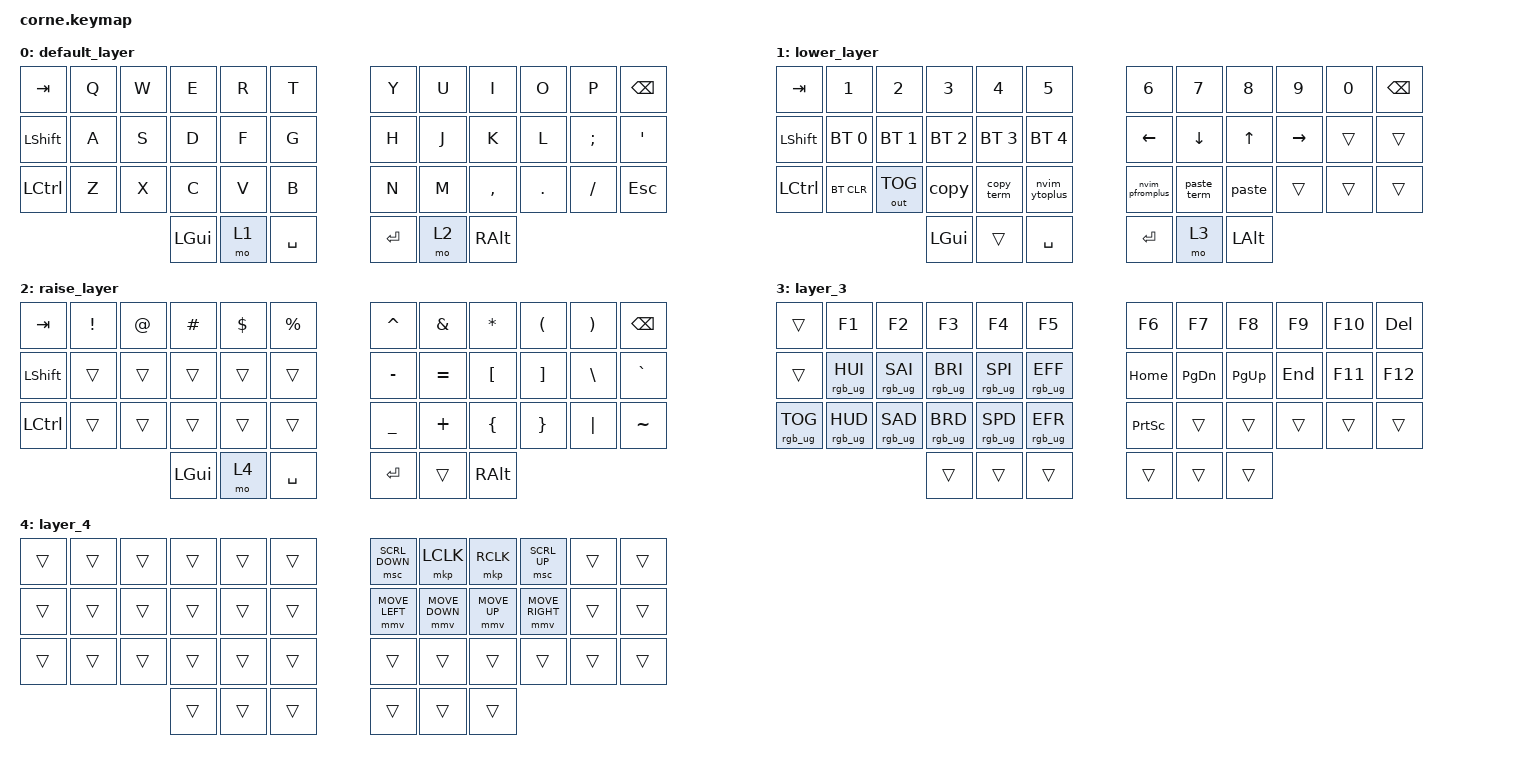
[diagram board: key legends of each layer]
/*
 * Copyright (c) 2020 The ZMK Contributors
 *
 * SPDX-License-Identifier: MIT
 */

#include <behaviors.dtsi>
#include <dt-bindings/zmk/bt.h>
#include <dt-bindings/zmk/keys.h>
#include <dt-bindings/zmk/outputs.h>
#include <dt-bindings/zmk/pointing.h>
#include <dt-bindings/zmk/rgb.h>
#include <dt-bindings/led/led.h>

/ {
    macros {
        copy: ctrlc_ctrlv {
            compatible = "zmk,behavior-macro";
            #binding-cells = <0>;
            bindings = <&kp LCTRL &kp C>;
            label = "CTRLC_CTRLV";
        };
        paste: paste {
            compatible = "zmk,behavior-macro";
            #binding-cells = <0>;
            bindings = <&kp LCTRL &kp V>;
            label = "PASTE";
        };
        copy_term: copy_term {
            compatible = "zmk,behavior-macro";
            #binding-cells = <0>;
            bindings = <&kp LCTRL &kp LEFT_SHIFT &kp C>;
            label = "COPY_TERM";
        };
        paste_term: paste_term {
            compatible = "zmk,behavior-macro";
            #binding-cells = <0>;
            bindings = <&kp LCTRL &kp LEFT_SHIFT &kp V>;
            label = "PASTE_TERM";
        };
        nvim_ytoplus: nvim_ytoplus {
            compatible = "zmk,behavior-macro";
            #binding-cells = <0>;
            bindings = <&kp DQT &kp PLUS &kp Y>;
            label = "NVIM_YTOPLUS";
        };
        nvim_pfromplus: nvim_pfromplus {
            compatible = "zmk,behavior-macro";
            #binding-cells = <0>;
            bindings = <&kp I &kp LCTRL &kp R &kp PLUS>;
            label = "NVIM_PFROMPLUS";
        };
    };
    keymap {
        compatible = "zmk,keymap";
        default_layer {
            // -----------------------------------------------------------------------------------------
            // | TAB |  Q  |  W  |  E  |  R  |  T  |   | Y  |  U   |  I  |  O  |  P  | BKSP |
            // | CTRL |  A  |  S  |  D  |  F  |  G  |   | H  |  J   |  K  |  L  |  ;  |  '   |
            // | SHFT |  Z  |  X  |  C  |  V  |  B  |   | N  |  M   |  ,  |  .  |  /  | ESC  |
            //                    | GUI | LWR | SPC |   | ENT | RSE  | ALT |
            bindings = <
&kp TAB    &kp Q  &kp W  &kp E     &kp R  &kp T        &kp Y    &kp U  &kp I      &kp O    &kp P     &kp BSPC
&kp LSHFT  &kp A  &kp S  &kp D     &kp F  &kp G        &kp H    &kp J  &kp K      &kp L    &kp SEMI  &kp SQT
&kp LCTRL  &kp Z  &kp X  &kp C     &kp V  &kp B        &kp N    &kp M  &kp COMMA  &kp DOT  &kp FSLH  &kp ESC
                         &kp LGUI  &mo 1  &kp SPACE    &kp RET  &mo 2  &kp RALT
            >;
        };
        lower_layer {
            // -----------------------------------------------------------------------------------------
            // | TAB |  1  |  2  |  3  |  4  |  5  |   | 6  |  7  |  8  |  9  |  0  | BKSP |
            // | BTCLR| BT1 | BT2 | BT3 | BT4 | BT5 |   | LFT | DWN |  UP | RGT |     |      |
            // | SHFT |     |     |     |     |     |   |     |     |     |     |     |      |
            //                    | GUI |     | SPC |   | ENT |     | ALT |
            bindings = <
&kp TAB    &kp N1        &kp N2        &kp N3        &kp N4        &kp N5           &kp N6           &kp N7       &kp N8    &kp N9     &kp N0  &kp BSPC
&kp LSHFT  &bt BT_SEL 0  &bt BT_SEL 1  &bt BT_SEL 2  &bt BT_SEL 3  &bt BT_SEL 4     &kp LEFT         &kp DOWN     &kp UP    &kp RIGHT  &trans  &trans
&kp LCTRL  &bt BT_CLR    &out OUT_TOG  &copy         &copy_term    &nvim_ytoplus    &nvim_pfromplus  &paste_term  &paste    &trans     &trans  &trans
                                       &kp LGUI      &trans        &kp SPACE        &kp RET          &mo 3        &kp LALT
            >;
        };

        raise_layer {
            // -----------------------------------------------------------------------------------------
            // | TAB |  !  |  @  |  #  |  $  |  %  |   |  ^  |  &  |  * |  (  |  )  | BKSP |
            // | CTRL |     |     |     |     |     |   |  -  |  =  |  [  |  ]  |  \  |  `   |
            // | SHFT |     |     |     |     |     |   |  _  |  +  |  {  |  }  | "|" |  ~   |
            //                    | GUI |     | SPC |   | ENT |     | ALT |
            bindings = <
&kp TAB    &kp EXCLAMATION  &kp AT  &kp HASH  &kp DLLR  &kp PRCNT    &kp CARET  &kp AMPS   &kp ASTRK  &kp LPAR  &kp RPAR  &kp BSPC
&kp LSHFT  &trans           &trans  &trans    &trans    &trans       &kp MINUS  &kp EQUAL  &kp LBKT   &kp RBKT  &kp BSLH  &kp GRAVE
&kp LCTRL  &trans           &trans  &trans    &trans    &trans       &kp UNDER  &kp PLUS   &kp LBRC   &kp RBRC  &kp PIPE  &kp TILDE
                                    &kp LGUI  &mo 4     &kp SPACE    &kp RET    &trans     &kp RALT
            >;
        };
        layer_3 {
            bindings = <
&trans           &kp F1           &kp F2           &kp F3           &kp F4           &kp F5             &kp F6           &kp F7         &kp F8       &kp F9   &kp F10  &kp DEL
&trans           &rgb_ug RGB_HUI  &rgb_ug RGB_SAI  &rgb_ug RGB_BRI  &rgb_ug RGB_SPI  &rgb_ug RGB_EFF    &kp HOME         &kp PAGE_DOWN  &kp PAGE_UP  &kp END  &kp F11  &kp F12
&rgb_ug RGB_TOG  &rgb_ug RGB_HUD  &rgb_ug RGB_SAD  &rgb_ug RGB_BRD  &rgb_ug RGB_SPD  &rgb_ug RGB_EFR    &kp PRINTSCREEN  &trans         &trans       &trans   &trans   &trans
                                                   &trans           &trans           &trans             &trans           &trans         &trans
            >;
        };

        layer_4 {
            bindings = <
&trans  &trans  &trans  &trans  &trans  &trans    &msc SCRL_DOWN  &mkp LCLK       &mkp RCLK     &msc SCRL_UP     &trans  &trans
&trans  &trans  &trans  &trans  &trans  &trans    &mmv MOVE_LEFT  &mmv MOVE_DOWN  &mmv MOVE_UP  &mmv MOVE_RIGHT  &trans  &trans
&trans  &trans  &trans  &trans  &trans  &trans    &trans          &trans          &trans        &trans           &trans  &trans
                        &trans  &trans  &trans    &trans          &trans          &trans
            >;
        };
    };
};
